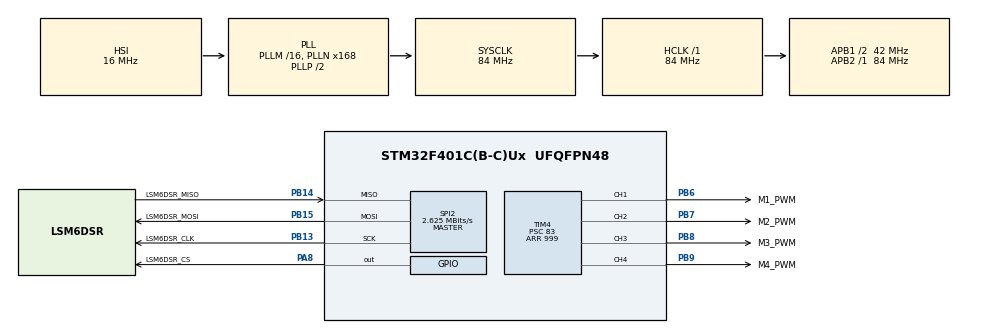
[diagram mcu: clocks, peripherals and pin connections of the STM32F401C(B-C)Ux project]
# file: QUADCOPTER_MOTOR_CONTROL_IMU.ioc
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Mcu.Family=STM32F4
Mcu.Name=STM32F401C(B-C)Ux
Mcu.Package=UFQFPN48
NVIC.PriorityGroup=NVIC_PRIORITYGROUP_4
PA8.GPIO_Label=LSM6DSR_CS
PA8.GPIO_PuPd=GPIO_PULLUP
PA8.PinState=GPIO_PIN_SET
PA8.Signal=GPIO_Output
PB13.GPIO_Label=LSM6DSR_CLK
PB13.Mode=Full_Duplex_Master
PB13.Signal=SPI2_SCK
PB14.GPIO_Label=LSM6DSR_MISO
PB14.Mode=Full_Duplex_Master
PB14.Signal=SPI2_MISO
PB15.GPIO_Label=LSM6DSR_MOSI
PB15.Mode=Full_Duplex_Master
PB15.Signal=SPI2_MOSI
PB6.GPIO_Label=M1_PWM
PB6.Signal=S_TIM4_CH1
PB7.GPIO_Label=M2_PWM
PB7.Signal=S_TIM4_CH2
PB8.GPIO_Label=M3_PWM
PB8.Signal=S_TIM4_CH3
PB9.GPIO_Label=M4_PWM
PB9.Signal=S_TIM4_CH4
ProjectManager.HeapSize=0x200
ProjectManager.StackSize=0x400
ProjectManager.TargetToolchain=STM32CubeIDE
RCC.48MHZClocksFreq_Value=42000000
RCC.AHBFreq_Value=84000000
RCC.APB1CLKDivider=RCC_HCLK_DIV2
RCC.APB1Freq_Value=42000000
RCC.APB1TimFreq_Value=84000000
RCC.APB2Freq_Value=84000000
RCC.APB2TimFreq_Value=84000000
RCC.CortexFreq_Value=84000000
RCC.HCLKFreq_Value=84000000
RCC.HSE_VALUE=25000000
RCC.HSI_VALUE=16000000
RCC.LSE_VALUE=32768
RCC.PLLN=168
RCC.SYSCLKFreq_VALUE=84000000
RCC.SYSCLKSource=RCC_SYSCLKSOURCE_PLLCLK
RCC.VCOOutputFreq_Value=168000000
SH.S_TIM4_CH1.0=TIM4_CH1,PWM Generation1 CH1
SH.S_TIM4_CH2.0=TIM4_CH2,PWM Generation2 CH2
SH.S_TIM4_CH3.0=TIM4_CH3,PWM Generation3 CH3
SH.S_TIM4_CH4.0=TIM4_CH4,PWM Generation4 CH4
SPI2.BaudRatePrescaler=SPI_BAUDRATEPRESCALER_16
SPI2.CalculateBaudRate=2.625 MBits/s
SPI2.Direction=SPI_DIRECTION_2LINES
SPI2.Mode=SPI_MODE_MASTER
SPI2.VirtualType=VM_MASTER
TIM4.Channel-PWM\ Generation1\ CH1=TIM_CHANNEL_1
TIM4.Channel-PWM\ Generation2\ CH2=TIM_CHANNEL_2
TIM4.Channel-PWM\ Generation3\ CH3=TIM_CHANNEL_3
TIM4.Channel-PWM\ Generation4\ CH4=TIM_CHANNEL_4
TIM4.Period=999
TIM4.Prescaler=83
VP_TIM4_VS_ClockSourceINT.Mode=Internal
board=custom

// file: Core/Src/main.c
/* USER CODE BEGIN Header */
/**
  ******************************************************************************
  * @file           : main.c
  * @brief          : Main program body
  ******************************************************************************
  * @attention
  *
  * Copyright (c) 2025 STMicroelectronics.
  * All rights reserved.
  *
  * This software is licensed under terms that can be found in the LICENSE file
  * in the root directory of this software component.
  * If no LICENSE file comes with this software, it is provided AS-IS.
  *
  ******************************************************************************
  */
/* USER CODE END Header */
#include "main.h"

/* USER CODE BEGIN Includes */
#include "motor_drone.h"
#include "LSM6DSR.h"
/* USER CODE END Includes */

SPI_HandleTypeDef hspi2;

TIM_HandleTypeDef htim4;

/* USER CODE BEGIN PV */
MotorDroneHandler motor_drone =
{
		.motor1_ch = TIM_CHANNEL_1,
		.motor2_ch = TIM_CHANNEL_2,
		.motor3_ch = TIM_CHANNEL_3,
		.motor4_ch = TIM_CHANNEL_4,
		.timer = &htim4,
		};
lsm6dsr_handler imu_sensor =
{
		.spi_imu = &hspi2,
		.gpio_cs_pin = LSM6DSR_CS_Pin ,
		.gpio_cs_port = LSM6DSR_CS_GPIO_Port,
};
/* USER CODE END PV */

void SystemClock_Config(void);
static void MX_GPIO_Init(void);
static void MX_TIM4_Init(void);
static void MX_SPI2_Init(void);

int main(void)
{

  /* MCU Configuration--------------------------------------------------------*/

  /* Reset of all peripherals, Initializes the Flash interface and the Systick. */
  HAL_Init();

  /* Configure the system clock */
  SystemClock_Config();

  /* Initialize all configured peripherals */
  MX_GPIO_Init();
  MX_TIM4_Init();
  MX_SPI2_Init();
  /* USER CODE BEGIN 2 */
  HAL_Delay(1000);
  lsm6dsr_init(&imu_sensor, 1000);
//  set_motor_voltage(&motor_drone, MOTOR_1, 20.0);
//  set_motor_voltage(&motor_drone, MOTOR_2, 20.0);
//  set_motor_voltage(&motor_drone, MOTOR_3, 20.0);
//  set_motor_voltage(&motor_drone, MOTOR_4, 20.0);
//  uint8_t temp_data = 0x0f|0x80;
//  HAL_GPIO_WritePin(LSM6DSR_CS_GPIO_Port, LSM6DSR_CS_Pin,
//  			GPIO_PIN_RESET);
//  HAL_SPI_Transmit(&hspi2, &temp_data , 1, 100);
//  HAL_SPI_Receive(&hspi2, &temp_data, 1, 100);
//  HAL_GPIO_WritePin(LSM6DSR_CS_GPIO_Port, LSM6DSR_CS_Pin,
//    			GPIO_PIN_SET);
  /* USER CODE END 2 */

  /* Infinite loop */
  /* USER CODE BEGIN WHILE */
  while (1)
  {
	  lsm6dsr_read_data(&imu_sensor);
	  HAL_Delay(1000);
    /* USER CODE END WHILE */

  }
}

void SystemClock_Config(void)
{
  RCC_OscInitTypeDef RCC_OscInitStruct = {0};
  RCC_ClkInitTypeDef RCC_ClkInitStruct = {0};

  /** Configure the main internal regulator output voltage
  */
  __HAL_RCC_PWR_CLK_ENABLE();
  __HAL_PWR_VOLTAGESCALING_CONFIG(PWR_REGULATOR_VOLTAGE_SCALE2);

  /** Initializes the RCC Oscillators according to the specified parameters
  * in the RCC_OscInitTypeDef structure.
  */
  RCC_OscInitStruct.OscillatorType = RCC_OSCILLATORTYPE_HSI;
  RCC_OscInitStruct.HSIState = RCC_HSI_ON;
  RCC_OscInitStruct.HSICalibrationValue = RCC_HSICALIBRATION_DEFAULT;
  RCC_OscInitStruct.PLL.PLLState = RCC_PLL_ON;
  RCC_OscInitStruct.PLL.PLLSource = RCC_PLLSOURCE_HSI;
  RCC_OscInitStruct.PLL.PLLM = 16;
  RCC_OscInitStruct.PLL.PLLN = 168;
  RCC_OscInitStruct.PLL.PLLP = RCC_PLLP_DIV2;
  RCC_OscInitStruct.PLL.PLLQ = 4;
  if (HAL_RCC_OscConfig(&RCC_OscInitStruct) != HAL_OK)
  {
    Error_Handler();
  }

  /** Initializes the CPU, AHB and APB buses clocks
  */
  RCC_ClkInitStruct.ClockType = RCC_CLOCKTYPE_HCLK|RCC_CLOCKTYPE_SYSCLK
                              |RCC_CLOCKTYPE_PCLK1|RCC_CLOCKTYPE_PCLK2;
  RCC_ClkInitStruct.SYSCLKSource = RCC_SYSCLKSOURCE_PLLCLK;
  RCC_ClkInitStruct.AHBCLKDivider = RCC_SYSCLK_DIV1;
  RCC_ClkInitStruct.APB1CLKDivider = RCC_HCLK_DIV2;
  RCC_ClkInitStruct.APB2CLKDivider = RCC_HCLK_DIV1;

  if (HAL_RCC_ClockConfig(&RCC_ClkInitStruct, FLASH_LATENCY_2) != HAL_OK)
  {
    Error_Handler();
  }
}

static void MX_SPI2_Init(void)
{

  /* SPI2 parameter configuration*/
  hspi2.Instance = SPI2;
  hspi2.Init.Mode = SPI_MODE_MASTER;
  hspi2.Init.Direction = SPI_DIRECTION_2LINES;
  hspi2.Init.DataSize = SPI_DATASIZE_8BIT;
  hspi2.Init.CLKPolarity = SPI_POLARITY_LOW;
  hspi2.Init.CLKPhase = SPI_PHASE_1EDGE;
  hspi2.Init.NSS = SPI_NSS_SOFT;
  hspi2.Init.BaudRatePrescaler = SPI_BAUDRATEPRESCALER_16;
  hspi2.Init.FirstBit = SPI_FIRSTBIT_MSB;
  hspi2.Init.TIMode = SPI_TIMODE_DISABLE;
  hspi2.Init.CRCCalculation = SPI_CRCCALCULATION_DISABLE;
  hspi2.Init.CRCPolynomial = 10;
  if (HAL_SPI_Init(&hspi2) != HAL_OK)
  {
    Error_Handler();
  }

}

static void MX_TIM4_Init(void)
{

  TIM_ClockConfigTypeDef sClockSourceConfig = {0};
  TIM_MasterConfigTypeDef sMasterConfig = {0};
  TIM_OC_InitTypeDef sConfigOC = {0};

  htim4.Instance = TIM4;
  htim4.Init.Prescaler = 83;
  htim4.Init.CounterMode = TIM_COUNTERMODE_UP;
  htim4.Init.Period = 999;
  htim4.Init.ClockDivision = TIM_CLOCKDIVISION_DIV1;
  htim4.Init.AutoReloadPreload = TIM_AUTORELOAD_PRELOAD_DISABLE;
  if (HAL_TIM_Base_Init(&htim4) != HAL_OK)
  {
    Error_Handler();
  }
  sClockSourceConfig.ClockSource = TIM_CLOCKSOURCE_INTERNAL;
  if (HAL_TIM_ConfigClockSource(&htim4, &sClockSourceConfig) != HAL_OK)
  {
    Error_Handler();
  }
  if (HAL_TIM_PWM_Init(&htim4) != HAL_OK)
  {
    Error_Handler();
  }
  sMasterConfig.MasterOutputTrigger = TIM_TRGO_RESET;
  sMasterConfig.MasterSlaveMode = TIM_MASTERSLAVEMODE_DISABLE;
  if (HAL_TIMEx_MasterConfigSynchronization(&htim4, &sMasterConfig) != HAL_OK)
  {
    Error_Handler();
  }
  sConfigOC.OCMode = TIM_OCMODE_PWM1;
  sConfigOC.Pulse = 0;
  sConfigOC.OCPolarity = TIM_OCPOLARITY_HIGH;
  sConfigOC.OCFastMode = TIM_OCFAST_DISABLE;
  if (HAL_TIM_PWM_ConfigChannel(&htim4, &sConfigOC, TIM_CHANNEL_1) != HAL_OK)
  {
    Error_Handler();
  }
  if (HAL_TIM_PWM_ConfigChannel(&htim4, &sConfigOC, TIM_CHANNEL_2) != HAL_OK)
  {
    Error_Handler();
  }
  if (HAL_TIM_PWM_ConfigChannel(&htim4, &sConfigOC, TIM_CHANNEL_3) != HAL_OK)
  {
    Error_Handler();
  }
  if (HAL_TIM_PWM_ConfigChannel(&htim4, &sConfigOC, TIM_CHANNEL_4) != HAL_OK)
  {
    Error_Handler();
  }
  /* USER CODE BEGIN TIM4_Init 2 */
  HAL_TIM_Base_Start(&htim4);
    HAL_TIM_PWM_Start(&htim4, TIM_CHANNEL_1);
    HAL_TIM_PWM_Start(&htim4, TIM_CHANNEL_2);
    HAL_TIM_PWM_Start(&htim4, TIM_CHANNEL_3);
    HAL_TIM_PWM_Start(&htim4, TIM_CHANNEL_4);
  /* USER CODE END TIM4_Init 2 */
  HAL_TIM_MspPostInit(&htim4);

}

static void MX_GPIO_Init(void)
{
  GPIO_InitTypeDef GPIO_InitStruct = {0};

  /* GPIO Ports Clock Enable */
  __HAL_RCC_GPIOB_CLK_ENABLE();
  __HAL_RCC_GPIOA_CLK_ENABLE();

  /*Configure GPIO pin Output Level */
  HAL_GPIO_WritePin(LSM6DSR_CS_GPIO_Port, LSM6DSR_CS_Pin, GPIO_PIN_SET);

  /*Configure GPIO pin : LSM6DSR_CS_Pin */
  GPIO_InitStruct.Pin = LSM6DSR_CS_Pin;
  GPIO_InitStruct.Mode = GPIO_MODE_OUTPUT_PP;
  GPIO_InitStruct.Pull = GPIO_PULLUP;
  GPIO_InitStruct.Speed = GPIO_SPEED_FREQ_LOW;
  HAL_GPIO_Init(LSM6DSR_CS_GPIO_Port, &GPIO_InitStruct);

}

void Error_Handler(void)
{
  __disable_irq();
  while (1)
  {
  }
}
